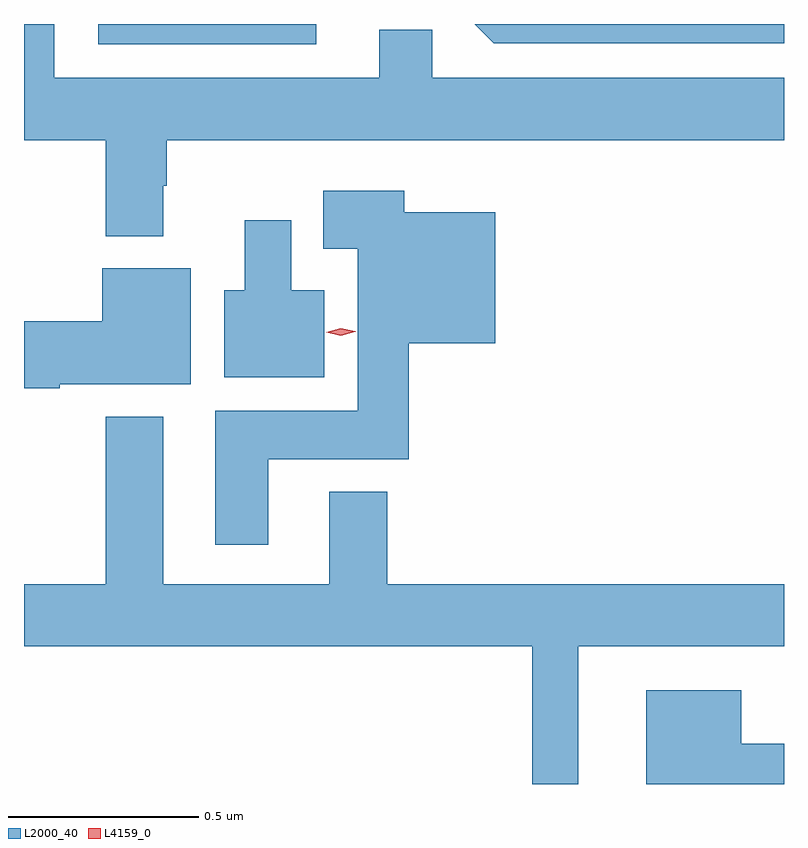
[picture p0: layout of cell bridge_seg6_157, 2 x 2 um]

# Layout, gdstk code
import gdstk
lib = gdstk.Library(unit=1e-6, precision=1e-09)
def R(c, l, rs):  # rectangles x0, y0, x1, y1
    for r in rs: c.add(gdstk.rectangle(r[:2], r[2:], *l))
def P(c, l, *ps):  # polygons
    for p in ps: c.add(gdstk.Polygon(p, *l))
L2000_40 = (2000, 40)
L4159_0 = (4159, 0)

bridge_seg6_157 = lib.new_cell('bridge_seg6_157')
R(bridge_seg6_157, L2000_40, [(570.717,992.877,571.291,992.93)])
P(bridge_seg6_157, L2000_40, [(570.889,992.504),(570.897,992.504),(570.897,992.624),(572.522,992.624),(572.522,992.788),(571.596,992.788),(571.596,992.915),(571.457,992.915),(571.457,992.788),(570.601,992.788),(570.601,992.93),(570.522,992.93),(570.522,992.624),(570.737,992.624),(570.737,992.372),(570.889,992.372)],
  [(572.522,992.93),(571.708,992.93),(571.758,992.88),(572.522,992.88)],
  [(571.165,991.784),(571.535,991.784),(571.535,992.09),(571.762,992.09),(571.762,992.434),(571.522,992.434),(571.522,992.491),(571.31,992.491),(571.31,992.339),(571.4,992.339),(571.4,991.912),(571.025,991.912),(571.025,991.56),(571.165,991.56)],
  [(571.312,992.23),(571.225,992.23),(571.225,992.413),(571.103,992.413),(571.103,992.23),(571.049,992.23),(571.049,992),(571.312,992)],
  [(570.616,991.982),(570.961,991.982),(570.961,992.287),(570.728,992.287),(570.728,992.148),(570.522,992.148),(570.522,991.972),(570.616,991.972)],
  [(571.981,991.292),(572.522,991.292),(572.522,991.456),(571.478,991.456),(571.478,991.699),(571.325,991.699),(571.325,991.456),(570.889,991.456),(570.889,991.897),(570.737,991.897),(570.737,991.456),(570.522,991.456),(570.522,991.292),(571.86,991.292),(571.86,990.93),(571.981,990.93)],
  [(572.522,991.036),(572.41,991.036),(572.41,991.177),(572.159,991.177),(572.159,990.93),(572.522,990.93)])
P(bridge_seg6_157, L4159_0, [(571.356,992.11),(571.317,992.119),(571.317,992.119),(571.317,992.119),(571.356,992.13),(571.394,992.121),(571.395,992.12),(571.394,992.12)])

lib.write_gds('bridge_seg6_157.gds')
